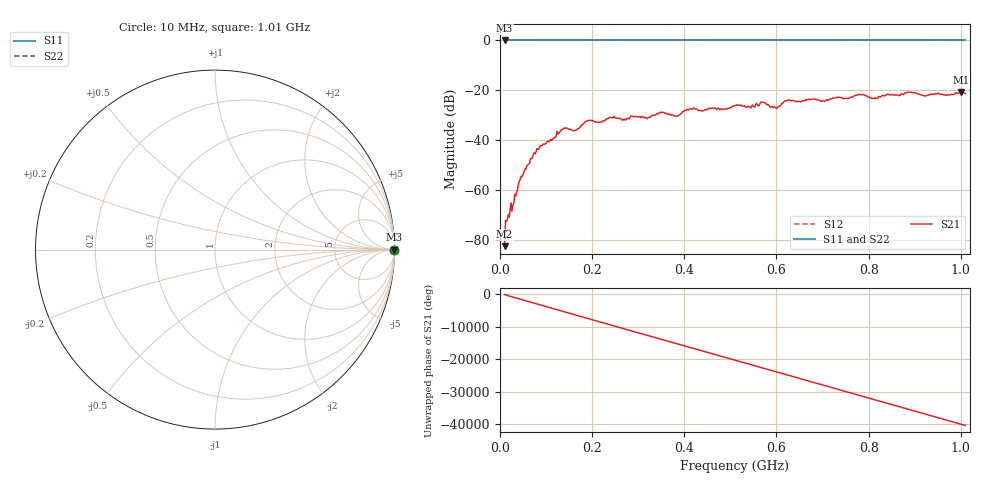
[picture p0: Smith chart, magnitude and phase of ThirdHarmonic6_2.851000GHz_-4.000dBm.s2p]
! 8/17/2025 7:42:50 AM
! C:\ANRITSUVNA\TEMP\TEMP.S2P
! CHANNEL.1
! TR.MEASUREMENT
! RAW.DATA
! RF.CORRECTION.OFF
! AVERAGING.OFF
! IF.BANDWIDTH: 5KHZ
! SWEEPTYPE:  FREQ.SWEEP(Linear)
! Reference Plane Port Info
! PORT:  PORT1  PORT2
! DISTANCE:  0  m  0  m
! TIME:  0  s  0  s
! PHASE.OFFSET:  0  deg.  0  deg.
! LOSS:  0  dB  0  dB
! REF.LOSS:  0  dB  0  dB
! REF.FREQ:  0  Hz  0  Hz
! Power Info
! POWER:  -20  dBm  -20  dBm
! EFF.POWER:  -20  dBm  -20  dBm
! SOURCE.ATTEN:  0  dB  0  dB
! TEST.ATTEN:  0  dB  0  dB
# GHZ S RI R 50.0
! FREQ.GHZ  S11RE  S11IM  S21RE  S21IM  S12RE  S12IM  S22RE  S22IM
!; PortSelection: Port_12
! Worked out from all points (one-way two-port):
!   501 points, 10 MHz to 1.01 GHz, reference 50 ohm
!   highest |S21| = -20.60 dB at 1 GHz (marker M1); lowest = -82.3 dB at 10 MHz (marker M2)
!   lowest |S11| = 0.0 dB at 10 MHz (marker M3)
!   |S11| at or under -10 dB: nowhere
!   |S22| runs from 0.0 to 0.0 dB; largest |S21 - S12| = 1.1
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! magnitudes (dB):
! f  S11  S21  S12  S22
! 10 MHz  0.0  -82.3  0.0  0.0
! 16 MHz  0.0  -71.6  0.0  0.0
! 44 MHz  0.0  -55.6  0.0  0.0
! 76 MHz  0.0  -45.4  0.0  0.0
! 136 MHz  0.0  -35.6  0.0  0.0
! 162 MHz  0.0  -36.1  0.0  0.0
! 178 MHz  0.0  -33.7  0.0  0.0
! 192 MHz  0.0  -32.1  0.0  0.0
! 322 MHz  0.0  -30.9  0.0  0.0
! 344 MHz  0.0  -29.3  0.0  0.0
! 384 MHz  0.0  -30.2  0.0  0.0
! 418 MHz  0.0  -27.5  0.0  0.0
! 510 MHz  0.0  -26.0  0.0  0.0
! 540 MHz  0.0  -26.4  0.0  0.0
! 570 MHz  0.0  -24.7  0.0  0.0
! 598 MHz  0.0  -26.8  0.0  0.0
! 624 MHz  0.0  -24.0  0.0  0.0
! 678 MHz  0.0  -23.5  0.0  0.0
! 814 MHz  0.0  -23.0  0.0  0.0
! 844 MHz  0.0  -21.6  0.0  0.0
! 1 GHz  0.0  -20.6  0.0  0.0
! 1.01 GHz  0.0  -21.3  0.0  0.0
